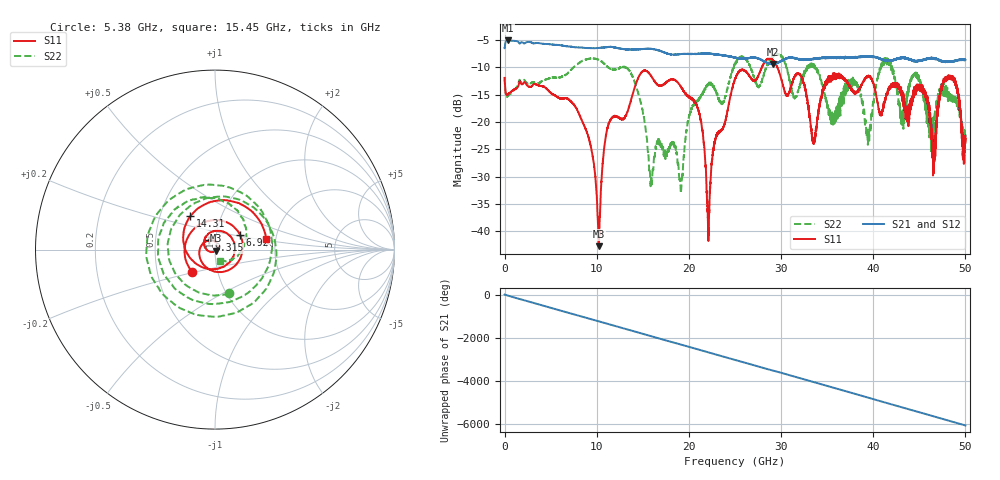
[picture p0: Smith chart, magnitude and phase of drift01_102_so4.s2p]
!Created with skrf (http://scikit-rf.org).
# Hz S RI R 50.0
!freq ReS11 ImS11 ReS21 ImS21 ReS12 ImS12 ReS22 ImS22
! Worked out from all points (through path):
!   10001 points, 300 kHz to 50 GHz, reference 50 ohm
!   highest |S21| = -5.05 dB at 365.3 MHz (marker M1); lowest = -9.4 dB at 29.11 GHz (marker M2)
!   group delay of S21, straight-line fit = 336 ps
!   lowest |S11| = -42.8 dB at 10.23 GHz (marker M3), VSWR 1.01, Z = 50.5 - j0.561 ohm
!   |S11| at or under -10 dB: start of sweep to 27.91 GHz; 29.6 GHz to end of sweep
!   |S22| runs from -33.1 to -7.5 dB; largest |S21 - S12| = 0.015
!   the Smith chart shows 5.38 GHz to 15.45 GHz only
!   S11 on the Smith chart (normalised r, x): 5.38 GHz: 0.76, -0.19; 6.92 GHz: 1.30, +0.22; 9.315 GHz: 0.93, +0.10; 14.31 GHz: 0.71, +0.28; 15.45 GHz: 1.78, +0.23
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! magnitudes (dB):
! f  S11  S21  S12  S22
! 300 kHz  -11.9  -6.5  -6.6  -11.8
! 365.3 MHz  -14.9  -5.1  -5.1  -15.2
! 5.38 GHz  -15.1  -5.9  -5.9  -11.8
! 6.92 GHz  -15.9  -6.2  -6.1  -11.0
! 8.335 GHz  -19.5  -6.4  -6.4  -8.9
! 9.315 GHz  -24.2  -6.4  -6.4  -8.4
! 10.23 GHz  -42.8  -6.4  -6.4  -8.6
! 11.23 GHz  -20.7  -6.3  -6.3  -9.9
! 14.31 GHz  -12.7  -6.7  -6.7  -13.6
! 15.45 GHz  -10.7  -6.6  -6.6  -23.2
! 16.67 GHz  -13.3  -6.9  -6.9  -23.3
! 19.13 GHz  -13.5  -7.6  -7.6  -33.0
! 20.85 GHz  -16.9  -7.6  -7.5  -16.2
! 22.13 GHz  -40.3  -7.5  -7.5  -13.3
! 25 GHz  -12.1  -8.2  -8.2  -9.5
! 29.11 GHz  -8.6  -9.4  -9.4  -7.9
! 33.34 GHz  -22.4  -8.5  -8.4  -9.6
! 39.47 GHz  -11.6  -8.0  -8.0  -22.1
! 41.67 GHz  -13.8  -8.8  -8.7  -8.9
! 46.56 GHz  -26.8  -8.3  -8.2  -20.7
! 48.53 GHz  -12.1  -8.9  -8.9  -15.4
! 50 GHz  -23.9  -8.6  -8.6  -23.2
